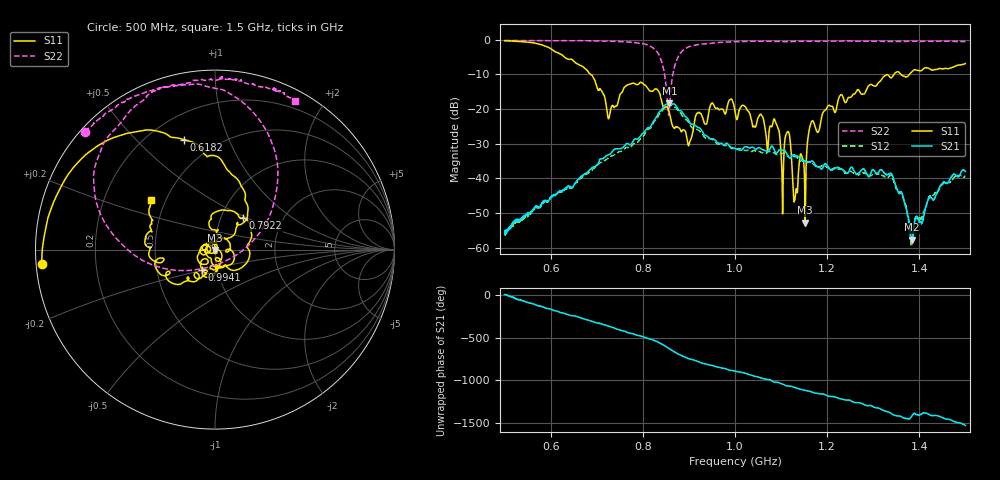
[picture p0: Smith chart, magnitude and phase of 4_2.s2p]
!Agilent Technologies,E8364B,US42250235,A.06.04.32
!Agilent E8364B: A.06.04.32
!Date: Thursday, October 01, 2020 14:29:54
!Correction: S11(Full 2 Port(1,2)) S21(Full 2 Port(1,2)) S12(Full 2 Port(1,2)) S22(Full 2 Port(1,2))
!S2P File: Measurements: S11, S21, S12, S22:
# Hz S  dB  R 50
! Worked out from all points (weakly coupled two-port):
!   2650 points, 500 MHz to 1.5 GHz, reference 50 ohm
!   highest |S21| = -18.35 dB at 857.5 MHz (marker M1); lowest = -57.7 dB at 1.384 GHz (marker M2)
!   lowest |S11| = -52.8 dB at 1.152 GHz (marker M3), VSWR 1.00, Z = 50.1 - j0.212 ohm
!   |S11| at or under -10 dB: 687.2 MHz to 1.345 GHz (657.8 MHz wide, 64.7 % of centre); 1.36 GHz to 1.378 GHz (18.45 MHz wide, 1.35 % of centre)
!   |S22| runs from -21.8 to -0.2 dB; largest |S21 - S12| = 0.015
!   S11 on the Smith chart (normalised r, x): 500 MHz: 0.02, -0.04; 618.2 MHz: 0.34, +0.70; 792.2 MHz: 1.27, +0.47; 994.1 MHz: 0.84, -0.19; 1.5 GHz: 0.41, +0.29
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5e8  -0.27 -175.2  -55.60 8.6  -56.13 9.9  -0.21 137.9
6.181578e8  -3.93 105.7  -43.73 165.0  -44.00 160.4  -0.26 124.0
6.668554e8  -7.52 75.0  -39.40 91.9  -39.77 88.8  -0.27 120.2
7.257456e8  -22.83 66.8  -33.12 -3.4  -33.93 -9.9  -0.42 110.4
7.921857e8  -12.58 48.6  -28.27 -114.3  -29.01 -118.3  -0.97 88.0
8.337108e8  -14.76 -31.0  -21.16 167.6  -21.89 162.9  -4.04 57.4
8.574934e8  -21.02 -94.7  -18.35 91.8  -18.70 87.1  -20.39 -102.6
8.90336e8  -26.12 113.4  -21.86 -4.7  -22.65 -8.4  -2.70 155.9
9.941487e8  -17.52 -123.5  -31.40 -164.2  -31.24 -169.8  -0.57 113.9
1.000189e9  -20.74 -141.1  -31.34 -172.6  -31.67 -175.9  -0.54 113.1
1.070026e9  -31.92 167.8  -32.26 90.7  -32.56 88.0  -0.45 107.7
1.087769e9  -23.68 155.2  -32.50 57.1  -32.90 55.6  -0.49 105.4
1.102869e9  -46.32 41.7  -31.95 36.3  -32.78 34.7  -0.52 103.1
1.114949e9  -26.48 149.4  -33.49 12.0  -33.69 12.5  -0.52 100.3
1.130804e9  -45.23 0.3  -33.39 -5.8  -33.76 -10.4  -0.45 97.5
1.142884e9  -32.93 -77.1  -34.35 -26.3  -34.98 -27.2  -0.47 95.8
1.152322e9  -52.80 -67.4  -35.05 -36.7  -35.60 -41.1  -0.44 94.3
1.166667e9  -23.55 -63.9  -35.00 -55.6  -35.66 -61.8  -0.47 92.0
1.333522e9  -10.33 -153.9  -38.76 67.6  -39.56 61.2  -0.49 77.3
1.384107e9  -9.20 -169.6  -57.73 24.4  -58.95 28.5  -0.42 69.7
1.423367e9  -8.44 164.6  -45.45 33.6  -45.07 28.1  -0.42 69.8
1.5e9  -6.89 142.0  -38.02 -89.9  -39.30 -87.0  -0.52 61.7
